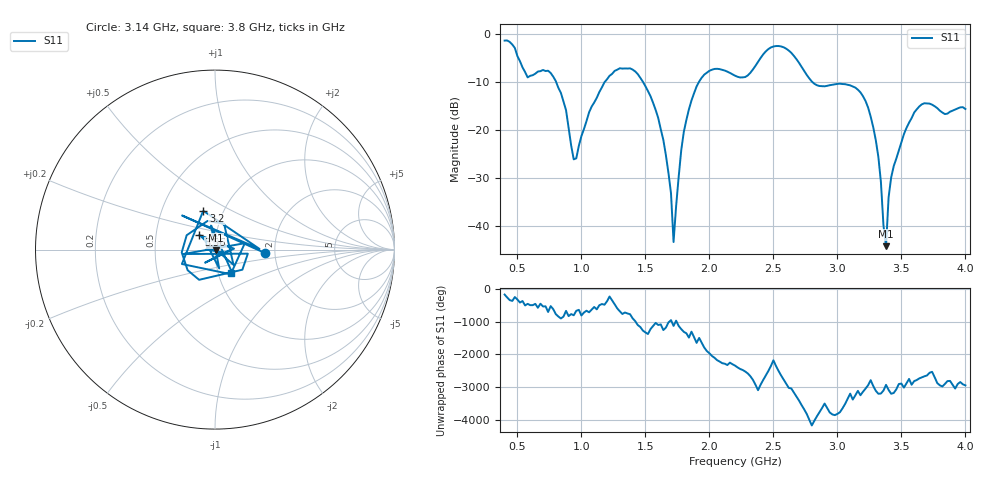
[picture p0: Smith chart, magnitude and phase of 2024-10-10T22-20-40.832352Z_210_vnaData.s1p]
! Created with skrf (http://scikit-rf.org).
# Hz S RI R 50.0
!freq ReS11 ImS11
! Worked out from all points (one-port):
!   181 points, 400 MHz to 4 GHz, reference 50 ohm
!   lowest |S11| = -44.1 dB at 3.38 GHz (marker M1), VSWR 1.01, Z = 50.5 - j0.433 ohm
!   |S11| at or under -10 dB: 803 MHz to 1.181 GHz (378.1 MHz wide, 38.1 % of centre); 1.482 GHz to 1.917 GHz (435.3 MHz wide, 25.6 % of centre); 2.806 GHz to end of sweep
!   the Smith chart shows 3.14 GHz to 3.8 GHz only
!   S11 on the Smith chart (normalised r, x): 3.14 GHz: 1.76, -0.07; 3.2 GHz: 0.80, +0.37; 3.56 GHz: 0.83, +0.14; 3.8 GHz: 1.15, -0.31
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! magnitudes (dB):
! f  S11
! 400 MHz  -1.4
! 580 MHz  -9.0
! 760 MHz  -8.1
! 860 MHz  -14.0
! 960 MHz  -25.8
! 1.08 GHz  -15.1
! 1.3 GHz  -7.1
! 1.44 GHz  -8.3
! 1.6 GHz  -17.4
! 1.7 GHz  -33.1
! 1.72 GHz  -43.2
! 1.76 GHz  -29.7
! 1.82 GHz  -17.9
! 1.92 GHz  -9.9
! 2.2 GHz  -8.7
! 2.5 GHz  -2.6
! 2.66 GHz  -4.5
! 2.84 GHz  -10.6
! 3.1 GHz  -10.7
! 3.14 GHz  -11.1
! 3.2 GHz  -12.9
! 3.3 GHz  -22.1
! 3.38 GHz  -44.1
! 3.4 GHz  -34.0
! 3.42 GHz  -29.8
! 3.56 GHz  -18.4
! 3.8 GHz  -15.9
! 4 GHz  -15.6
